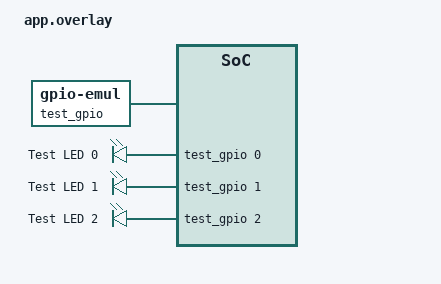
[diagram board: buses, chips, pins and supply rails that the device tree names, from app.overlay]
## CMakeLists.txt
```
# SPDX-License-Identifier: Apache-2.0

cmake_minimum_required(VERSION 3.20.0)

set(KCONFIG_ROOT ${CMAKE_CURRENT_SOURCE_DIR}/../../Kconfig)

find_package(Zephyr REQUIRED HINTS $ENV{ZEPHYR_BASE})
project(unit_tests)

target_sources(app PRIVATE
	src/test_main.c
	../../src/led.c
)

target_include_directories(app PRIVATE ../../src)
```

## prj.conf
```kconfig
CONFIG_ZTEST=y
CONFIG_GPIO=y
CONFIG_GPIO_EMUL=y
CONFIG_LOG=y
CONFIG_LED_LOG_LEVEL_DBG=y
CONFIG_LED_PERIOD_SLOW_MS=200
CONFIG_LED_PERIOD_NORMAL_MS=100
CONFIG_LED_PERIOD_FAST_MS=40
```

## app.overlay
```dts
/*
 * SPDX-License-Identifier: Apache-2.0
 */

/ {
	test_gpio: test_gpio {
		status = "okay";
		compatible = "zephyr,gpio-emul";
		gpio-controller;
		#gpio-cells = <2>;
		rising-edge;
		falling-edge;
		high-level;
		low-level;
		zephyr,deferred-init;
	};

	test_leds {
		compatible = "gpio-leds";
		test_led_0: test_led_0 {
			gpios = <&test_gpio 0 GPIO_ACTIVE_HIGH>;
			label = "Test LED 0";
		};
		test_led_1: test_led_1 {
			gpios = <&test_gpio 1 GPIO_ACTIVE_HIGH>;
			label = "Test LED 1";
		};
		test_led_2: test_led_2 {
			gpios = <&test_gpio 2 GPIO_ACTIVE_HIGH>;
			label = "Test LED 2";
		};
	};

	aliases {
		led0 = &test_led_0;
		led1 = &test_led_1;
		led2 = &test_led_2;
	};
};
```

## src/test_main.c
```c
// SPDX-License-Identifier: Apache-2.0

#include "led.h"
#include <zephyr/drivers/gpio.h>
#include <zephyr/drivers/gpio/gpio_emul.h>
#include <zephyr/kernel.h>
#include <zephyr/ztest.h>

static const struct device *const gpio_dev = DEVICE_DT_GET(DT_NODELABEL(test_gpio));

#define LED0_PIN 0
#define LED1_PIN 1
#define LED2_PIN 2

ZTEST(led_suite, test_01_init_fails_when_not_ready)
{
	/*
	 * test_gpio has 'zephyr,deferred-init;', so at boot it is not initialized.
	 * Check device_is_ready is false, then verify led_init() fails with -ENODEV.
	 */
	if (!device_is_ready(gpio_dev)) {
		int ret = led_init();

		zassert_equal(ret, -ENODEV,
			      "Expected -ENODEV when GPIO controller is not ready, got %d", ret);

		/* Now initialize the device manually */
		ret = device_init(gpio_dev);
		zassert_equal(ret, 0, "Failed to initialize test_gpio device: %d", ret);
	}

	zassert_true(device_is_ready(gpio_dev), "test_gpio should now be ready");
}

ZTEST(led_suite, test_02_init_success_and_starts_off)
{
	int ret = led_init();
	size_t count;

	zassert_equal(ret, 0, "led_init() should succeed, got %d", ret);

	count = led_get_count();
	zassert_true(count >= 2, "Expected at least 2 LEDs, got %u", (unsigned int)count);

	for (size_t i = 0; i < count; i++) {
		int val = gpio_emul_output_get(gpio_dev, (gpio_pin_t)i);
		const struct led_data *st = led_get_state((int)i);

		zassert_equal(val, 0, "LED %u should start turned off (level 0), got %d",
			      (unsigned int)i, val);
		zassert_not_null(st, "LED state should not be NULL");
		zassert_false(st->is_blinking, "LED %u should not be blinking after init",
			      (unsigned int)i);
	}

	/* Verify calling led_init() again does not corrupt anything */
	ret = led_init();
	zassert_equal(ret, 0, "Repeated led_init() should succeed, got %d", ret);
	for (size_t i = 0; i < count; i++) {
		int val = gpio_emul_output_get(gpio_dev, (gpio_pin_t)i);

		zassert_equal(val, 0, "LED %u should remain off after re-init", (unsigned int)i);
	}
}

ZTEST(led_suite, test_03_on_off_toggle)
{
	int ret;

	/* Test LED 0 */
	ret = led_on(0);
	zassert_equal(ret, 0, "led_on(0) failed: %d", ret);
	zassert_equal(gpio_emul_output_get(gpio_dev, LED0_PIN), 1,
		      "LED 0 pin should be 1 after led_on");

	ret = led_off(0);
	zassert_equal(ret, 0, "led_off(0) failed: %d", ret);
	zassert_equal(gpio_emul_output_get(gpio_dev, LED0_PIN), 0,
		      "LED 0 pin should be 0 after led_off");

	ret = led_toggle(0);
	zassert_equal(ret, 0, "led_toggle(0) failed: %d", ret);
	zassert_equal(gpio_emul_output_get(gpio_dev, LED0_PIN), 1,
		      "LED 0 pin should be 1 after toggle");

	ret = led_toggle(0);
	zassert_equal(ret, 0, "led_toggle(0) failed: %d", ret);
	zassert_equal(gpio_emul_output_get(gpio_dev, LED0_PIN), 0,
		      "LED 0 pin should be 0 after second toggle");
}

ZTEST(led_suite, test_04_blink_observed_high_and_low)
{
	int ret = led_blink(0, LED_PATTERN_FAST);
	bool saw_high = false;
	bool saw_low = false;

	zassert_equal(ret, 0, "led_blink(0, FAST) failed: %d", ret);

	/*
	 * FAST pattern period is 40ms (20ms high, 20ms low).
	 * Sample over ~160ms with 5ms sleep intervals.
	 */
	for (int i = 0; i < 32; i++) {
		int val = gpio_emul_output_get(gpio_dev, LED0_PIN);

		if (val == 1) {
			saw_high = true;
		}
		if (val == 0) {
			saw_low = true;
		}
		if (saw_high && saw_low) {
			break;
		}
		k_msleep(5);
	}

	zassert_true(saw_high, "Blinking LED 0 was never observed HIGH");
	zassert_true(saw_low, "Blinking LED 0 was never observed LOW");

	/* Clean up */
	led_off(0);
}

ZTEST(led_suite, test_05_two_leds_different_frequencies)
{
	int toggles_fast = 0;
	int toggles_slow = 0;
	int last_fast;
	int last_slow;

	/* Stop all LEDs first */
	led_off(LED_ID_ALL);

	/* LED 0 FAST (40ms period = toggle every 20ms) */
	zassert_ok(led_blink(0, LED_PATTERN_FAST));
	/* LED 1 SLOW (200ms period = toggle every 100ms) */
	zassert_ok(led_blink(1, LED_PATTERN_SLOW));

	last_fast = gpio_emul_output_get(gpio_dev, LED0_PIN);
	last_slow = gpio_emul_output_get(gpio_dev, LED1_PIN);

	/* Sample over 300ms at 5ms resolution */
	for (int i = 0; i < 60; i++) {
		int cur_fast;
		int cur_slow;

		k_msleep(5);
		cur_fast = gpio_emul_output_get(gpio_dev, LED0_PIN);
		cur_slow = gpio_emul_output_get(gpio_dev, LED1_PIN);

		if (cur_fast != last_fast) {
			toggles_fast++;
			last_fast = cur_fast;
		}
		if (cur_slow != last_slow) {
			toggles_slow++;
			last_slow = cur_slow;
		}
	}

	zassert_true(toggles_fast > toggles_slow,
		     "Fast LED should toggle more times than Slow LED (fast=%d, slow=%d)",
		     toggles_fast, toggles_slow);

	led_off(LED_ID_ALL);
}

ZTEST(led_suite, test_06_cancel_blink_with_actions)
{
	int before_toggle;
	int after_toggle;

	/* 1. Cancel via led_off */
	zassert_ok(led_blink(0, LED_PATTERN_FAST));
	zassert_true(led_get_state(0)->is_blinking);
	k_msleep(15);
	zassert_ok(led_off(0));
	zassert_false(led_get_state(0)->is_blinking, "Blink state was not cancelled by led_off");
	zassert_equal(gpio_emul_output_get(gpio_dev, LED0_PIN), 0);

	/* Wait 60ms (1.5x fast period) and ensure it stayed 0 */
	k_msleep(60);
	zassert_equal(gpio_emul_output_get(gpio_dev, LED0_PIN), 0,
		      "LED 0 pin toggled after led_off");

	/* 2. Cancel via led_on */
	zassert_ok(led_blink(0, LED_PATTERN_FAST));
	zassert_true(led_get_state(0)->is_blinking);
	k_msleep(15);
	zassert_ok(led_on(0));
	zassert_false(led_get_state(0)->is_blinking, "Blink state was not cancelled by led_on");
	zassert_equal(gpio_emul_output_get(gpio_dev, LED0_PIN), 1);

	/* Wait 60ms and ensure it stayed 1 */
	k_msleep(60);
	zassert_equal(gpio_emul_output_get(gpio_dev, LED0_PIN), 1,
		      "LED 0 pin toggled after led_on");

	/* 3. Cancel via led_toggle */
	zassert_ok(led_blink(0, LED_PATTERN_FAST));
	zassert_true(led_get_state(0)->is_blinking);
	k_msleep(15);
	before_toggle = gpio_emul_output_get(gpio_dev, LED0_PIN);
	zassert_ok(led_toggle(0));
	zassert_false(led_get_state(0)->is_blinking, "Blink state was not cancelled by led_toggle");
	after_toggle = gpio_emul_output_get(gpio_dev, LED0_PIN);
	zassert_equal(after_toggle, !before_toggle, "Pin did not invert on toggle");

	/* Wait 60ms and ensure it stayed in toggled state */
	k_msleep(60);
	zassert_equal(gpio_emul_output_get(gpio_dev, LED0_PIN), after_toggle,
		      "LED 0 pin toggled after led_toggle");

	led_off(LED_ID_ALL);
}

ZTEST(led_suite, test_07_action_on_all_leds)
{
	size_t count = led_get_count();

	/* 1. Turn ON all LEDs */
	zassert_ok(led_on(LED_ID_ALL));
	for (size_t i = 0; i < count; i++) {
		zassert_equal(gpio_emul_output_get(gpio_dev, (gpio_pin_t)i), 1,
			      "LED %u was not turned ON by LED_ID_ALL", (unsigned int)i);
		zassert_false(led_get_state((int)i)->is_blinking);
	}

	/* 2. Turn OFF all LEDs */
	zassert_ok(led_off(LED_ID_ALL));
	for (size_t i = 0; i < count; i++) {
		zassert_equal(gpio_emul_output_get(gpio_dev, (gpio_pin_t)i), 0,
			      "LED %u was not turned OFF by LED_ID_ALL", (unsigned int)i);
		zassert_false(led_get_state((int)i)->is_blinking);
	}

	/* 3. Toggle all LEDs */
	zassert_ok(led_toggle(LED_ID_ALL));
	for (size_t i = 0; i < count; i++) {
		zassert_equal(gpio_emul_output_get(gpio_dev, (gpio_pin_t)i), 1,
			      "LED %u was not toggled by LED_ID_ALL", (unsigned int)i);
		zassert_false(led_get_state((int)i)->is_blinking);
	}

	/* 4. Blink all LEDs */
	zassert_ok(led_blink(LED_ID_ALL, LED_PATTERN_NORMAL));
	for (size_t i = 0; i < count; i++) {
		zassert_true(led_get_state((int)i)->is_blinking,
			     "LED %u is not blinking after led_blink(LED_ID_ALL)", (unsigned int)i);
	}

	/* Clean up */
	zassert_ok(led_off(LED_ID_ALL));
	for (size_t i = 0; i < count; i++) {
		zassert_false(led_get_state((int)i)->is_blinking);
		zassert_equal(gpio_emul_output_get(gpio_dev, (gpio_pin_t)i), 0);
	}
}

ZTEST(led_suite, test_08_invalid_arguments)
{
	size_t count = led_get_count();

	/* Invalid LED IDs */
	zassert_equal(led_on(-2), -EINVAL);
	zassert_equal(led_on((int)count), -EINVAL);
	zassert_equal(led_on(99), -EINVAL);

	zassert_equal(led_off(-3), -EINVAL);
	zassert_equal(led_off((int)count + 1), -EINVAL);

	zassert_equal(led_toggle(-10), -EINVAL);
	zassert_equal(led_toggle((int)count), -EINVAL);

	/* Invalid patterns */
	zassert_equal(led_blink(0, -1), -EINVAL);
	zassert_equal(led_blink(0, LED_PATTERN_COUNT), -EINVAL);
	zassert_equal(led_blink(0, 999), -EINVAL);

	/* Invalid LED ID with valid pattern */
	zassert_equal(led_blink(-2, LED_PATTERN_SLOW), -EINVAL);
	zassert_equal(led_blink((int)count, LED_PATTERN_FAST), -EINVAL);

	/* Invalid action */
	zassert_equal(led_apply_action(0, LED_ACTION_COUNT, NULL), -EINVAL);
	zassert_equal(led_apply_action(0, -1, NULL), -EINVAL);
}

ZTEST_SUITE(led_suite, NULL, NULL, NULL, NULL, NULL);
```
